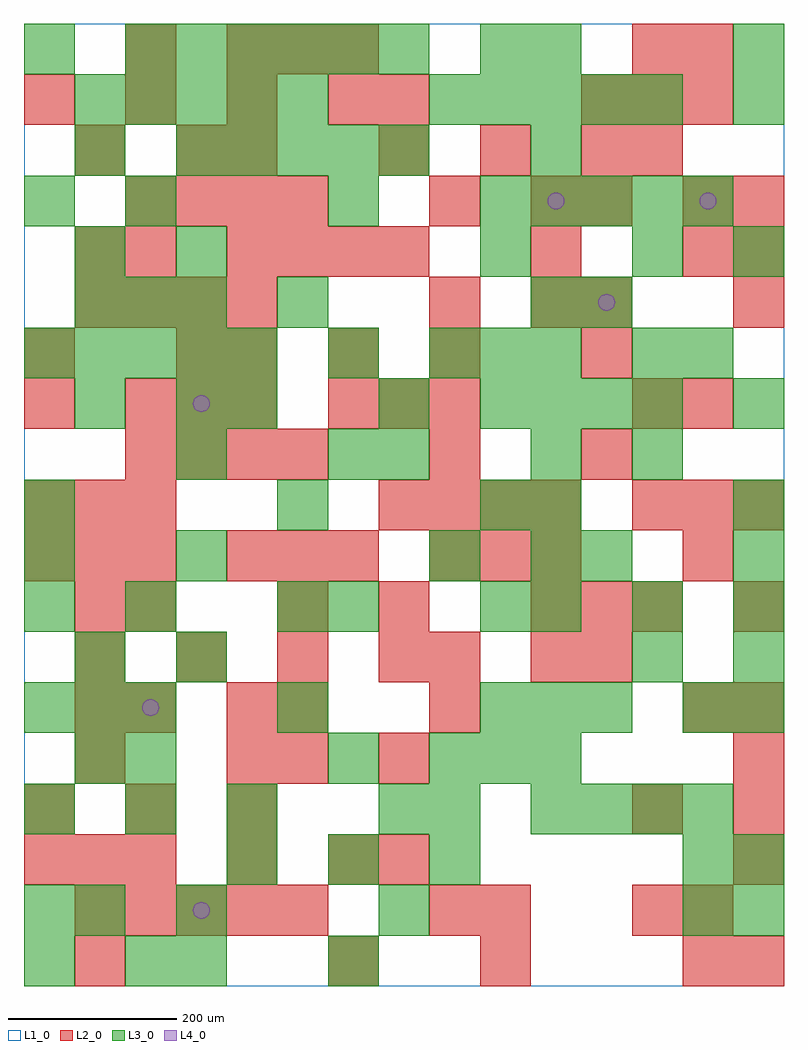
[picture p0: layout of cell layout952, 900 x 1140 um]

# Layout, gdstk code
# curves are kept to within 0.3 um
import gdstk
lib = gdstk.Library(unit=1e-6, precision=1e-09)
def R(c, l, rs):  # rectangles x0, y0, x1, y1
    for r in rs: c.add(gdstk.rectangle(r[:2], r[2:], *l))
def A(c, l, x, y, w, h, nx, ny, dx, dy):  # array of equal rectangles
    R(c, l, [(x+i*dx, y+j*dy, x+i*dx+w, y+j*dy+h) for i in range(nx) for j in range(ny)])
def P(c, l, *ps):  # polygons
    for p in ps: c.add(gdstk.Polygon(p, *l))
L1_0 = (1, 0)
L2_0 = (2, 0)
L3_0 = (3, 0)
L4_0 = (4, 0)

layout952 = lib.new_cell('layout952')
R(layout952, L1_0, [(0,0,900,1140)])
A(layout952, L2_0, 60, 60, 60, 60, 5, 1, 60, 0)
A(layout952, L2_0, 0, 120, 60, 60, 3, 2, 60, 360)
A(layout952, L2_0, 840, 120, 60, 60, 1, 4, 0, 60)
A(layout952, L2_0, 0, 180, 60, 60, 3, 1, 120, 0)
A(layout952, L2_0, 780, 300, 60, 60, 1, 4, 0, 180)
A(layout952, L2_0, 60, 360, 60, 60, 4, 1, 120, 0)
A(layout952, L2_0, 600, 420, 60, 60, 3, 1, 60, 0)
A(layout952, L2_0, 240, 480, 60, 60, 3, 2, 60, 600)
A(layout952, L2_0, 480, 480, 60, 60, 3, 1, 60, 0)
A(layout952, L2_0, 0, 540, 60, 60, 3, 1, 60, 0)
A(layout952, L2_0, 420, 540, 60, 60, 4, 1, 60, 0)
A(layout952, L2_0, 720, 540, 60, 60, 3, 1, 60, 0)
A(layout952, L2_0, 120, 600, 60, 60, 4, 2, 60, 300)
A(layout952, L2_0, 120, 660, 60, 60, 3, 1, 60, 0)
A(layout952, L2_0, 360, 660, 60, 60, 3, 1, 60, 0)
A(layout952, L2_0, 240, 720, 60, 60, 3, 1, 120, 0)
A(layout952, L2_0, 60, 780, 60, 60, 4, 1, 60, 0)
A(layout952, L2_0, 600, 780, 60, 60, 1, 3, 0, 60)
A(layout952, L2_0, 840, 780, 60, 60, 1, 3, 0, 60)
A(layout952, L2_0, 240, 840, 60, 60, 4, 1, 60, 0)
A(layout952, L2_0, 420, 960, 60, 60, 3, 1, 120, 0)
A(layout952, L2_0, 0, 1020, 60, 60, 4, 1, 120, 0)
A(layout952, L2_0, 660, 1020, 60, 60, 3, 1, 60, 0)
R(layout952, L2_0, [(60,0,120,60), (360,0,420,60), (540,0,600,60), (780,0,840,60), (840,0,900,60), (480,60,540,120), (540,60,600,120), (720,60,780,120), (780,60,840,120), (240,120,300,180), (360,120,420,180), (420,120,480,180), (720,180,780,240), (60,240,120,300), (240,240,300,300), (300,240,360,300), (420,240,480,300), (60,300,120,360), (120,300,180,360), (240,300,300,360), (300,300,360,360), (480,300,540,360), (480,360,540,420), (600,360,660,420), (660,360,720,420), (60,420,120,480), (120,420,180,480), (300,420,360,480), (420,420,480,480), (840,420,900,480), (480,600,540,660), (660,600,720,660), (0,660,60,720), (720,660,780,720), (0,720,60,780), (180,720,240,780), (660,720,720,780), (480,780,540,840), (660,780,720,840), (60,840,120,900), (120,840,180,900), (480,900,540,960), (660,900,720,960), (780,900,840,960), (60,960,120,1020), (180,960,240,1020), (240,960,300,1020), (720,960,780,1020), (420,1020,480,1080), (120,1080,180,1140), (720,1080,780,1140), (780,1080,840,1140)])
A(layout952, L3_0, 240, 120, 60, 60, 3, 1, 120, 0)
A(layout952, L3_0, 0, 180, 60, 60, 3, 1, 120, 0)
A(layout952, L3_0, 600, 180, 60, 60, 4, 1, 60, 0)
A(layout952, L3_0, 360, 240, 60, 60, 1, 3, 0, 180)
A(layout952, L3_0, 480, 240, 60, 60, 3, 2, 60, 480)
A(layout952, L3_0, 0, 300, 60, 60, 3, 1, 60, 0)
A(layout952, L3_0, 300, 300, 60, 60, 1, 3, 0, 120)
A(layout952, L3_0, 540, 300, 60, 60, 3, 1, 60, 0)
A(layout952, L3_0, 180, 360, 60, 60, 1, 3, 0, 120)
A(layout952, L3_0, 0, 420, 60, 60, 1, 3, 0, 60)
A(layout952, L3_0, 600, 420, 60, 60, 3, 1, 120, 0)
A(layout952, L3_0, 600, 480, 60, 60, 1, 3, 0, 60)
A(layout952, L3_0, 720, 600, 60, 60, 1, 3, 0, 120)
A(layout952, L3_0, 540, 660, 60, 60, 4, 1, 60, 0)
A(layout952, L3_0, 840, 660, 60, 60, 1, 3, 0, 180)
A(layout952, L3_0, 0, 720, 60, 60, 5, 1, 60, 0)
A(layout952, L3_0, 60, 780, 60, 60, 3, 1, 60, 0)
A(layout952, L3_0, 540, 900, 60, 60, 5, 1, 60, 0)
A(layout952, L3_0, 180, 960, 60, 60, 5, 1, 60, 0)
A(layout952, L3_0, 60, 1020, 60, 60, 5, 1, 60, 0)
A(layout952, L3_0, 480, 1020, 60, 60, 5, 1, 60, 0)
A(layout952, L3_0, 120, 1080, 60, 60, 6, 1, 60, 0)
R(layout952, L3_0, [(0,0,60,60), (120,0,180,60), (180,0,240,60), (360,0,420,60), (0,60,60,120), (60,60,120,120), (180,60,240,120), (420,60,480,120), (780,60,840,120), (840,60,900,120), (780,120,840,180), (840,120,900,180), (420,180,480,240), (480,180,540,240), (60,240,120,300), (120,240,180,300), (780,300,840,360), (840,300,900,360), (60,360,120,420), (720,360,780,420), (840,360,900,420), (120,420,180,480), (540,420,600,480), (480,480,540,540), (660,480,720,540), (840,480,900,540), (540,540,600,600), (840,540,900,600), (420,600,480,660), (60,660,120,720), (180,660,240,720), (240,660,300,720), (420,660,480,720), (360,720,420,780), (780,720,840,780), (300,780,360,840), (600,780,660,840), (660,780,720,840), (60,840,120,900), (180,840,240,900), (540,840,600,900), (0,900,60,960), (120,900,180,960), (360,900,420,960), (60,960,120,1020), (600,960,660,1020), (0,1080,60,1140), (540,1080,600,1140), (600,1080,660,1140), (840,1080,900,1140)])
P(layout952, L4_0, [(160,330),(159.239,333.827),(157.071,337.071),(153.827,339.239),(150,340),(146.173,339.239),(142.929,337.071),(140.761,333.827),(140,330),(140.761,326.173),(142.929,322.929),(146.173,320.761),(150,320),(153.827,320.761),(157.071,322.929),(159.239,326.173)],
  [(220,90),(219.239,93.827),(217.071,97.071),(213.827,99.239),(210,100),(206.173,99.239),(202.929,97.071),(200.761,93.827),(200,90),(200.761,86.173),(202.929,82.929),(206.173,80.761),(210,80),(213.827,80.761),(217.071,82.929),(219.239,86.173)],
  [(220,690),(219.239,693.827),(217.071,697.071),(213.827,699.239),(210,700),(206.173,699.239),(202.929,697.071),(200.761,693.827),(200,690),(200.761,686.173),(202.929,682.929),(206.173,680.761),(210,680),(213.827,680.761),(217.071,682.929),(219.239,686.173)],
  [(640,930),(639.239,933.827),(637.071,937.071),(633.827,939.239),(630,940),(626.173,939.239),(622.929,937.071),(620.761,933.827),(620,930),(620.761,926.173),(622.929,922.929),(626.173,920.761),(630,920),(633.827,920.761),(637.071,922.929),(639.239,926.173)],
  [(700,810),(699.239,813.827),(697.071,817.071),(693.827,819.239),(690,820),(686.173,819.239),(682.929,817.071),(680.761,813.827),(680,810),(680.761,806.173),(682.929,802.929),(686.173,800.761),(690,800),(693.827,800.761),(697.071,802.929),(699.239,806.173)],
  [(820,930),(819.239,933.827),(817.071,937.071),(813.827,939.239),(810,940),(806.173,939.239),(802.929,937.071),(800.761,933.827),(800,930),(800.761,926.173),(802.929,922.929),(806.173,920.761),(810,920),(813.827,920.761),(817.071,922.929),(819.239,926.173)])

lib.write_gds('layout952.gds')
